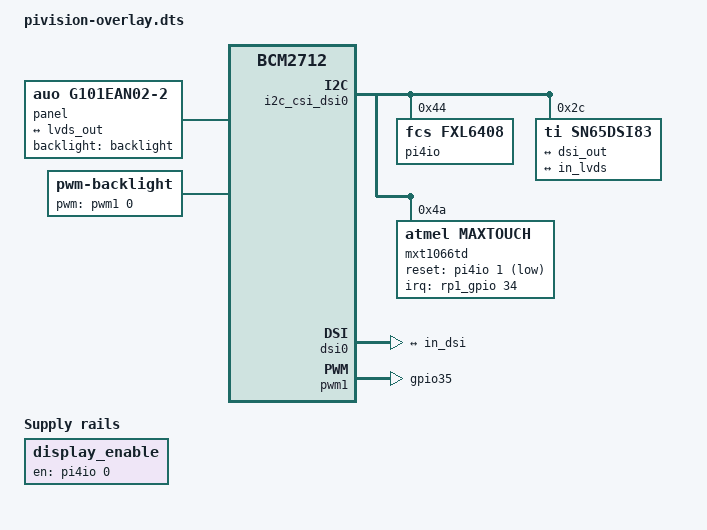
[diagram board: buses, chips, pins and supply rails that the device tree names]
#include <dt-bindings/gpio/gpio.h>
#include <dt-bindings/interrupt-controller/irq.h>

/dts-v1/;
/plugin/;

/ {
	compatible = "brcm,bcm2712";

	fragment@0 {
		target = <&i2c_csi_dsi0>;
		__overlay__ {
			status = "okay";
			pi4io: pi4io@44 {
				compatible = "fcs,fxl6408";
				reg = <0x44>;
				gpio-controller;
				#gpio-cells = <2>;
				status = "okay";
			};

			sn65dsi83: bridge@2c {
				compatible = "ti,sn65dsi83";
				reg = <0x2c>;
				status = "okay";

				ports {
					#address-cells = <1>;
					#size-cells = <0>;

					port@0 {
						reg = <0>;

						in_dsi: endpoint {
							remote-endpoint = <&dsi_out>;
							data-lanes = <1 2 3 4>;
						};
					};

					port@2 {
						reg = <2>;

						lvds_out: endpoint {
							remote-endpoint = <&in_lvds>;
						};
					};
				};
			};

			mxt1066td: touch@4a {
				compatible = "atmel,maxtouch";
				reg = <0x4a>;
				interrupt-parent = <&rp1_gpio>;
				interrupts = <34 IRQ_TYPE_EDGE_FALLING>;
				pinctrl-names = "default";
				pinctrl-0 = <&rp1_gpio_34>;
				reset-gpios = <&pi4io 1 GPIO_ACTIVE_LOW>;
				status = "okay";
			};
		};
	};

	fragment@1 {
		target = <&dsi0>;
		__overlay__{
			status = "okay";
			port {
				dsi_out: endpoint {
					remote-endpoint = <&in_dsi>;
				};
			};
		};
	};

	fragment@2 {
		target-path = "/";
		__overlay__ {
			panel: panel {
				compatible = "auo,g101ean02-2", "panel-lvds";
				width-mm = <217>;
				height-mm = <136>;
				data-mapping = "vesa-24";
				backlight = <&backlight>;
				status = "okay";

				panel-timing {
					clock-frequency = <71100000>;
					hactive = <1280>;
					vactive = <800>;
					hfront-porch = <50>;
					hsync-len = <60>;
					hback-porch = <50>;
					vfront-porch = <7>;
					vsync-len = <9>;
					vback-porch = <7>;
				};

				port {
					in_lvds: endpoint {
						remote-endpoint = <&lvds_out>;
					};
				};
			};

			display_enable: display_enable {
				compatible = "regulator-fixed";
				regulator-name = "display_enable";
				regulator-always-on;
				enable-active-high;
				gpio = <&pi4io 0 GPIO_ACTIVE_HIGH>;
				status = "okay";
			};

			backlight: backlight {
				compatible = "pwm-backlight";
				pwms = <&pwm1 0 5000000 0>;
				brightness-levels = <0 65535>;
				num-interpolated-steps = <4096>;
				default-brightness-level = <3000>;
				status = "okay";
			};
		};
	};

	fragment@3 {
		target = <&rp1_gpio>;
		__overlay__ {
			rp1_gpio_34: rp1_gpio_34 {
				function = "gpio";
				pins = "gpio34";
				bias-pull-up;
			};
			rp1_gpio_35: rp1_gpio_35 {
				function = "pwm1";
				pins = "gpio35";
			};
		};
	};

	fragment@4 {
		target = <&cam0_reg>;
		__overlay__ {
			status = "disabled";
		};
	};

	fragment@5 {
		target = <&pwm1>;
		__overlay__ {
			pinctrl-names = "default";
			pinctrl-0 = <&rp1_gpio_35>;
			status = "okay";
		};
	};
};
